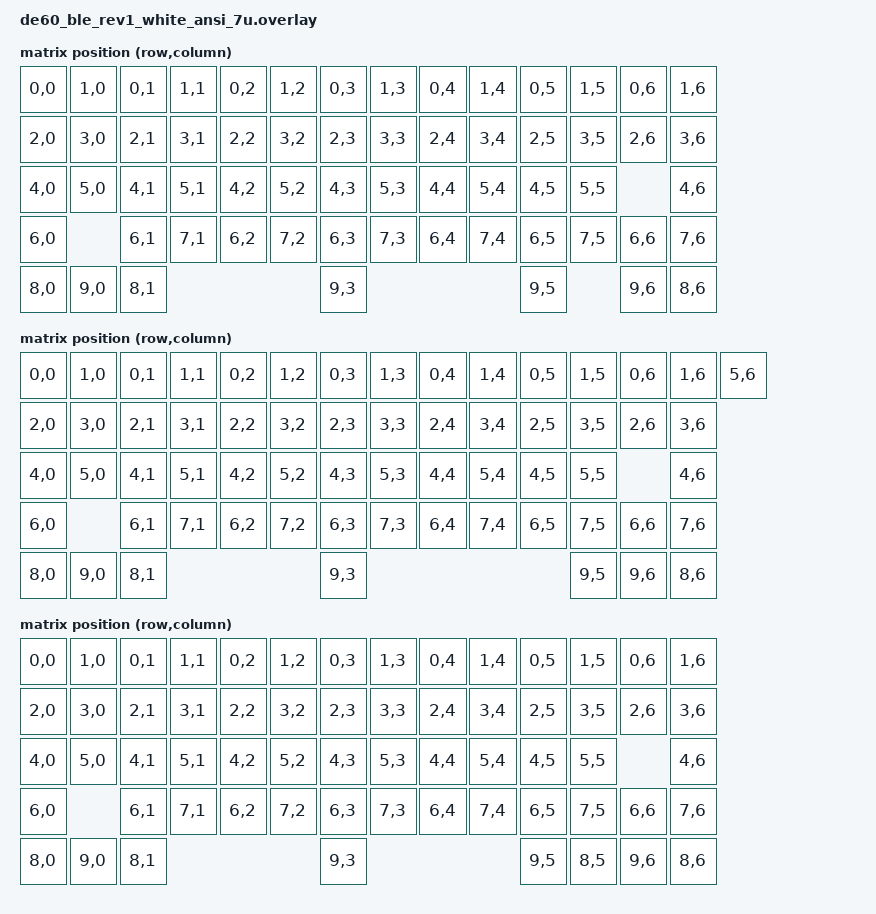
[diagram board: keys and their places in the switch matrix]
#include <dt-bindings/zmk/matrix_transform.h>
#include <physical_layouts.dtsi>
#include "common.overlay"

#define _RC(x, y)
#define NO(x) (64-x)

/ {
    // ANSI 7U BS 2U RSHIFT 1.75U 
    ansi_7u_bs2u_rs175u_transform: ansi_7u_bs2u_transform {
        compatible = "zmk,matrix-transform";
        columns = <7>;
        rows = <10>;
        map = <
            RC(0,0) RC(1,0) RC(0,1) RC(1,1) RC(0,2) RC(1,2) RC(0,3) RC(1,3) RC(0,4) RC(1,4) RC(0,5) RC(1,5) RC(0,6) RC(1,6) 
            RC(2,0) RC(3,0) RC(2,1) RC(3,1) RC(2,2) RC(3,2) RC(2,3) RC(3,3) RC(2,4) RC(3,4) RC(2,5) RC(3,5) RC(2,6) RC(3,6) 
            RC(4,0) RC(5,0) RC(4,1) RC(5,1) RC(4,2) RC(5,2) RC(4,3) RC(5,3) RC(4,4) RC(5,4) RC(4,5) RC(5,5)         RC(4,6) 
            RC(6,0)         RC(6,1) RC(7,1) RC(6,2) RC(7,2) RC(6,3) RC(7,3) RC(6,4) RC(7,4) RC(6,5) RC(7,5) RC(6,6) RC(7,6) 
            RC(8,0) RC(9,0) RC(8,1)                         RC(9,3)                         RC(9,5)         RC(9,6) RC(8,6) 
        >;
    };

    ansi_7u_bs2u_rs175u: ansi_7u_bs2u_rs175u {
        compatible = "zmk,physical-layout";
        display-name = "ANSI(7U)_BS(2U)_RSFT(1.75U)";
        transform = <&ansi_7u_bs2u_rs175u_transform>;

        keys =    ROW0_FIXED , ROW0_BS_2U
                , ROW1_FIXED , ROW1_ANSI
                , ROW2_FIXED , ROW2_ANSI 
                , ROW3_ANSI  , ROW3_FIXED , ROW3_RS_175U
                , SPC_7U;
    };

    // ANSI 7U BS 1U RSHIFT 1.75U 
    ansi_7u_bs1u_rs175u_transform: ansi_7u_bs1u_rs175u_transform {
        compatible = "zmk,matrix-transform";
        columns = <7>;
        rows = <10>;
        map = <
            RC(0,0) RC(1,0) RC(0,1) RC(1,1) RC(0,2) RC(1,2) RC(0,3) RC(1,3) RC(0,4) RC(1,4) RC(0,5) RC(1,5) RC(0,6) RC(1,6) RC(5,6)
            RC(2,0) RC(3,0) RC(2,1) RC(3,1) RC(2,2) RC(3,2) RC(2,3) RC(3,3) RC(2,4) RC(3,4) RC(2,5) RC(3,5) RC(2,6) RC(3,6) 
            RC(4,0) RC(5,0) RC(4,1) RC(5,1) RC(4,2) RC(5,2) RC(4,3) RC(5,3) RC(4,4) RC(5,4) RC(4,5) RC(5,5)         RC(4,6) 
            RC(6,0)         RC(6,1) RC(7,1) RC(6,2) RC(7,2) RC(6,3) RC(7,3) RC(6,4) RC(7,4) RC(6,5) RC(7,5) RC(6,6) RC(7,6) 
            RC(8,0) RC(9,0) RC(8,1)                         RC(9,3)                                 RC(9,5) RC(9,6) RC(8,6) 
        >;
    };

    ansi_7u_bs1u_rs175u: ansi_7u_bs1u_rs175u {
        compatible = "zmk,physical-layout";
        display-name = "ANSI(7U)_BS(1U)_RSFT(1.75U)";
        transform = <&ansi_7u_bs1u_rs175u_transform>;

        keys =    ROW0_FIXED , ROW0_BS_1U
                , ROW1_FIXED , ROW1_ANSI
                , ROW2_FIXED , ROW2_ANSI 
                , ROW3_ANSI  , ROW3_FIXED , ROW3_RS_175U
                , SPC_7U;
    };

    // ANSI 7U ARROW BS 2U RSHIFT ARROW
    ansi_7u_arrow_bs2u_rsarrow_transform: ansi_7u_arrow_bs2u_rsarrow_transform {
        compatible = "zmk,matrix-transform";
        columns = <7>;
        rows = <10>;
        map = <
            RC(0,0) RC(1,0) RC(0,1) RC(1,1) RC(0,2) RC(1,2) RC(0,3) RC(1,3) RC(0,4) RC(1,4) RC(0,5) RC(1,5) RC(0,6) RC(1,6) 
            RC(2,0) RC(3,0) RC(2,1) RC(3,1) RC(2,2) RC(3,2) RC(2,3) RC(3,3) RC(2,4) RC(3,4) RC(2,5) RC(3,5) RC(2,6) RC(3,6) 
            RC(4,0) RC(5,0) RC(4,1) RC(5,1) RC(4,2) RC(5,2) RC(4,3) RC(5,3) RC(4,4) RC(5,4) RC(4,5) RC(5,5)         RC(4,6) 
            RC(6,0)         RC(6,1) RC(7,1) RC(6,2) RC(7,2) RC(6,3) RC(7,3) RC(6,4) RC(7,4) RC(6,5) RC(7,5) RC(6,6) RC(7,6) 
            RC(8,0) RC(9,0) RC(8,1)                         RC(9,3)                         RC(9,5) RC(8,5) RC(9,6) RC(8,6) 
        >;
    };

    ansi_7u_arrow_bs2u_rsarrow: ansi_7u_arrow_bs2u_rsarrow {
        compatible = "zmk,physical-layout";
        display-name = "ANSI(7U-ARROW)_BS(2U)_RSFT(ARROW)";
        transform = <&ansi_7u_arrow_bs2u_rsarrow_transform>;

        keys =    ROW0_FIXED , ROW0_BS_2U
                , ROW1_FIXED , ROW1_ANSI
                , ROW2_FIXED , ROW2_ANSI 
                , ROW3_ANSI  , ROW3_FIXED , ROW3_RS_ARROW
                , SPC_7U_ARROW;
    };

    // ANSI 7U ARROW BS 1U RSHIFT ARROW
    ansi_7u_arrow_bs1u_rsarrow_transform: ansi_7u_arrow_bs1u_rsarrow_transform {
        compatible = "zmk,matrix-transform";
        columns = <7>;
        rows = <10>;
        map = <
            RC(0,0) RC(1,0) RC(0,1) RC(1,1) RC(0,2) RC(1,2) RC(0,3) RC(1,3) RC(0,4) RC(1,4) RC(0,5) RC(1,5) RC(0,6) RC(1,6) 
            RC(2,0) RC(3,0) RC(2,1) RC(3,1) RC(2,2) RC(3,2) RC(2,3) RC(3,3) RC(2,4) RC(3,4) RC(2,5) RC(3,5) RC(2,6) RC(3,6) 
            RC(4,0) RC(5,0) RC(4,1) RC(5,1) RC(4,2) RC(5,2) RC(4,3) RC(5,3) RC(4,4) RC(5,4) RC(4,5) RC(5,5)         RC(4,6) 
            RC(6,0)         RC(6,1) RC(7,1) RC(6,2) RC(7,2) RC(6,3) RC(7,3) RC(6,4) RC(7,4) RC(6,5) RC(7,5) RC(6,6) RC(7,6) 
            RC(8,0) RC(9,0) RC(8,1)                         RC(9,3)                         RC(9,5) RC(8,5) RC(9,6) RC(8,6) 
        >;
    };

    ansi_7u_arrow_bs1u_rsarrow: ansi_7u_arrow_bs1u_rsarrow {
        compatible = "zmk,physical-layout";
        display-name = "ANSI(7U-ARROW)_BS(1U)_RSFT(ARROW)";
        transform = <&ansi_7u_arrow_bs1u_rsarrow_transform>;

        keys =    ROW0_FIXED , ROW0_BS_1U
                , ROW1_FIXED , ROW1_ANSI
                , ROW2_FIXED , ROW2_ANSI 
                , ROW3_ANSI  , ROW3_FIXED , ROW3_RS_ARROW
                , SPC_7U_ARROW;
    };

    // ANSI 7U HHKB BS 1U RSHIFT 175U
    ansi_7u_hhkb_bs1u_rs175u_transform: ansi_7u_hhkb_bs1u_rs175u_transform {
        compatible = "zmk,matrix-transform";
        columns = <7>;
        rows = <10>;
        map = <
            RC(0,0) RC(1,0) RC(0,1) RC(1,1) RC(0,2) RC(1,2) RC(0,3) RC(1,3) RC(0,4) RC(1,4) RC(0,5) RC(1,5) RC(0,6) RC(1,6) RC(5,6)
            RC(2,0) RC(3,0) RC(2,1) RC(3,1) RC(2,2) RC(3,2) RC(2,3) RC(3,3) RC(2,4) RC(3,4) RC(2,5) RC(3,5) RC(2,6) RC(3,6) 
            RC(4,0) RC(5,0) RC(4,1) RC(5,1) RC(4,2) RC(5,2) RC(4,3) RC(5,3) RC(4,4) RC(5,4) RC(4,5) RC(5,5)         RC(4,6) 
            RC(6,0)         RC(6,1) RC(7,1) RC(6,2) RC(7,2) RC(6,3) RC(7,3) RC(6,4) RC(7,4) RC(6,5) RC(7,5) RC(6,6) RC(7,6) 
                    RC(9,0) RC(8,1)                         RC(9,3)                                 RC(9,5) RC(9,6) 
        >;
    };

    ansi_7u_hhkb_bs1u_rs175u: ansi_7u_hhkb_bs1u_rs175u {
        compatible = "zmk,physical-layout";
        display-name = "ANSI(7U-HHKB)_BS(1U)_RSFT(1.75U)";
        transform = <&ansi_7u_hhkb_bs1u_rs175u_transform>;

        keys =    ROW0_FIXED , ROW0_BS_1U
                , ROW1_FIXED , ROW1_ANSI
                , ROW2_FIXED , ROW2_ANSI 
                , ROW3_ANSI  , ROW3_FIXED , ROW3_RS_175U
                , SPC_7U_HHKB;
    };
    
    layouts_this_position_map {
        compatible = "zmk,physical-layout-position-map";
        complete;

        position_map_all: position_map_all {
            physical-layout = <&layout_all>;
            positions
                = < 0  1  2  3  4  5  6  7  8  9 10 11 12 13 14>
                , <15  16 17 18 19 20 21 22 23 24 25 26 27  28 >
                , < 29  30 31 32 33 34 35 36 37 38 39 40   41  >
                , < 42 43 44 45 46 47 48 49 50 51 52 53  54  55>
                , <56  57  58        59          60 61 62 63 64>;
        };

        // ANSI 7U BS 2U RSHIFT 1.75U
        pm_ansi_7u_bs2u_rs175u: pm_ansi_7u_bs2u_rs175u {
            physical-layout = <&ansi_7u_bs2u_rs175u>;
            positions
                = < 0  1  2  3  4  5  6  7  8  9 10 11 12 13 NO(0)>
                , <14 15 16 17 18 19 20 21 22 23 24 25 26 27>
                , <28 29 30 31 32 33 34 35 36 37 38 39 40>
                , <41 NO(1) 42 43 44 45 46 47 48 49 50 51 52 53>
                , <54 55 56 57 NO(2) 58 NO(3) 59 60>;
        };

        // ANSI 7U BS 1U RSHIFT 1.75U
        pm_ansi_7u_bs1u_rs175u: pm_ansi_7u_bs1u_rs175u {
            physical-layout = <&ansi_7u_bs1u_rs175u>;
            positions
                = < 0  1  2  3  4  5  6  7  8  9 10 11 12 13 14>
                , <15 16 17 18 19 20 21 22 23 24 25 26 27 28>
                , <29 30 31 32 33 34 35 36 37 38 39 40 41>
                , <42 NO(0) 43 44 45 46 47 48 49 50 51 52 53 54>
                , <55 56 57 58 NO(1) 59 NO(2) 60 61>;
        };

        // ANSI 7U ARROW BS 2U RSHIFT ARROW
        pm_ansi_7u_arrow_bs2u_rsarrow: pm_ansi_7u_arrow_bs2u_rsarrow {
            physical-layout = <&ansi_7u_arrow_bs2u_rsarrow>;
            positions
                = < 0  1  2  3  4  5  6  7  8  9 10 11 12 13 NO(0)>
                , <14 15 16 17 18 19 20 21 22 23 24 25 26 27>
                , <28 29 30 31 32 33 34 35 36 37 38 39 40>
                , <41 NO(1) 42 43 44 45 46 47 48 49 50 51 52 53>
                , <54 55 56 57 NO(2) 58 59 60 61>;
        };

        // ANSI 7U ARROW BS 1U RSHIFT ARROW
        pm_ansi_7u_arrow_bs1u_rsarrow: pm_ansi_7u_arrow_bs1u_rsarrow {
            physical-layout = <&ansi_7u_arrow_bs1u_rsarrow>;
            positions
                = < 0  1  2  3  4  5  6  7  8  9 10 11 12 13 14>
                , <15 16 17 18 19 20 21 22 23 24 25 26 27 28>
                , <29 30 31 32 33 34 35 36 37 38 39 40 41>
                , <42 NO(0) 43 44 45 46 47 48 49 50 51 52 53 54>
                , <55 56 57 58 NO(1) 59 60 61 62>;
        };

        // ANSI 7U HHKB BS 1U RSHIFT 1.75U
        pm_ansi_7u_hhkb_bs1u_rs175u: pm_ansi_7u_hhkb_bs1u_rs175u {
            physical-layout = <&ansi_7u_hhkb_bs1u_rs175u>;
            positions
                = < 0  1  2  3  4  5  6  7  8  9 10 11 12 13 14>
                , <15 16 17 18 19 20 21 22 23 24 25 26 27 28>
                , <29 30 31 32 33 34 35 36 37 38 39 40 41>
                , <42 NO(0) 43 44 45 46 47 48 49 50 51 52 53 54>
                , <NO(1) 55 56 57 NO(2) 58 NO(3) 59 NO(4)>;
        };
        
    };
};
